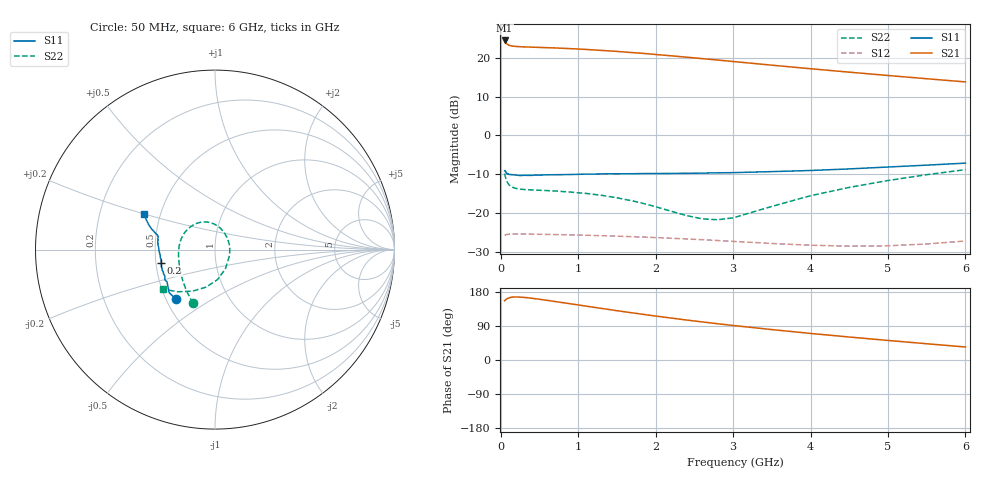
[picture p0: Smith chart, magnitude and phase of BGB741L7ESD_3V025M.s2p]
!  Infineon Technologies AG
!  BGB741L7ESD
!  Vce = 3.0V, Ic = 25.0mA
!  DATUM: 30.06.2009 10:00:30
# GHz  S  MA  R  50
!f  S11  S21  S12  S22
!GHz  Mag  Ang  Mag  Ang  Mag  Ang  Mag  Ang
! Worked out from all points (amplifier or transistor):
!   44 points, 50 MHz to 6 GHz, reference 50 ohm
!   highest |S21| = 24.4 dB at 50 MHz (marker M1)
!   |S21| within 3 dB of that: start of sweep to 1.616 GHz
!   unconditionally stable (mu >= 1): 190.2 MHz to end of sweep
!   at 120 MHz: K = 0.97, MSG = 24.2 dB, |S12| = -25.4 dB
!   at 1 GHz: K = 1.04, MAG = 22.7 dB, |S12| = -25.6 dB
!   at 6 GHz: K = 1.65, MAG = 15.7 dB, |S12| = -27.1 dB
!   S11 on the Smith chart (normalised r, x): 50 MHz: 0.56, -0.36; 200 MHz: 0.53, -0.09; 6 GHz: 0.41, +0.20
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0.05  0.3521 -128.1  16.62 156.5  0.05214 15.8  0.3241 -112.3
0.06  0.3502 -136.9  15.8 158.2  0.05278 13.5  0.2925 -120.2
0.07  0.3323 -142.1  15.29 160.1  0.05328 11.4  0.2717 -127.0
0.08  0.3222 -146.2  14.95 161.6  0.05354 9.9  0.2565 -132.8
0.1  0.3159 -152.0  14.51 163.5  0.05369 7.9  0.237 -142.0
0.14  0.3129 -160.8  14.13 165.7  0.05408 5.3  0.2186 -155.0
0.2  0.3092 -166.0  13.91 166.3  0.05412 3.4  0.2083 -166.9
0.35  0.3069 -173.6  13.69 164.2  0.05397 1.1  0.2011 175.3
0.7  0.3128 179.7  13.32 154.4  0.05329 -1.0  0.1936 150.0
1.1  0.3189 175.1  12.74 142.2  0.05216 -2.1  0.1801 126.6
1.4  0.3217 172.4  12.21 133.2  0.05121 -2.6  0.164 110.4
1.6  0.3219 170.4  11.8 127.3  0.05046 -2.9  0.1509 99.2
1.9  0.3242 168.6  11.21 118.7  0.04922 -3.1  0.1294 80.9
2.2  0.3255 167.2  10.56 110.8  0.04779 -2.9  0.1063 59.8
2.4  0.3265 166.8  10.13 105.5  0.04683 -2.7  0.09342 41.8
2.8  0.3312 165.8  9.316 95.7  0.04468 -1.7  0.08258 -1.7
3.5  0.3431 164.7  8.002 80.3  0.04093 2.3  0.1225 -62.0
4  0.3547 163.4  7.201 70.1  0.03886 7.0  0.1682 -85.4
4.5  0.3716 162.0  6.506 60.7  0.0378 13.3  0.2151 -103.4
5  0.3931 159.6  5.897 51.6  0.03824 20.5  0.2636 -118.6
5.5  0.4154 156.8  5.357 42.9  0.04031 27.4  0.3131 -131.4
6  0.441 153.6  4.874 34.4  0.04405 33.0  0.3639 -142.7
